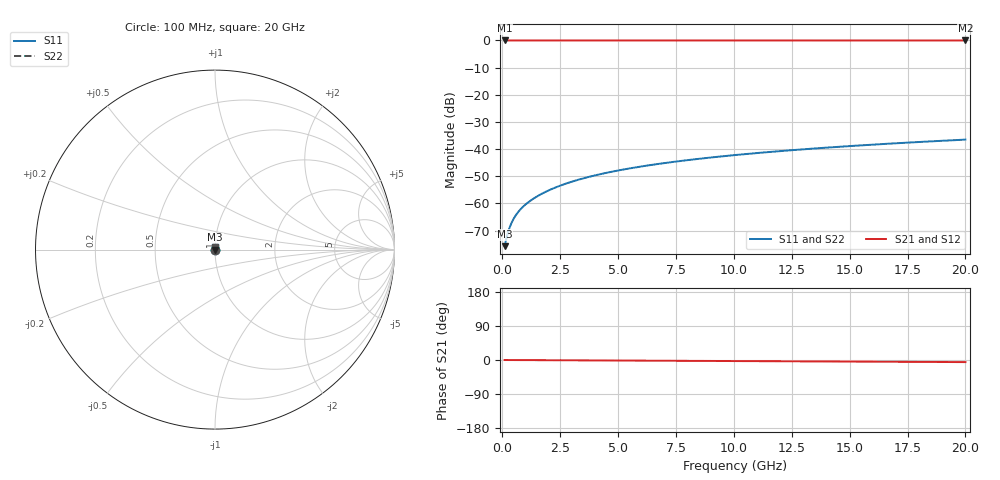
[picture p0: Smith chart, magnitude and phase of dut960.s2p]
! Touchstone file exported from HFSS 2026.1.0
!  File:  C:/ffzhzh/LocalFiles/Ansys_Project_Files/temp_train_TSV_960_1783187482_18472.aedt
!  Generated:  01:52:54 AM Jul  5, 2026
!  Design:  TSV
!  Project:  temp_train_TSV_960_1783187482_18472
! Variables:
!  h_bsmrdl = 2um
!  h_ox = 20um
!  h_rdl = 5um
!  h_sub = 51.61um
!  h_tmrdl = 5um
!  h_tsv = 51.61um
!  h_via = 3um
!  l_bsmrdl = 300um
!  l_sub = 416.46um
!  l_tmrdl = 200um
!  m_sub = 200um
!  pitch = 39.2um
!  r_tsv = 8.23um
!  s_tmrdl = 10um
!  w_bsmrdl = 18um
!  w_sub = 500um
!  w_tmrdl = 12um
!  x_tsv_center1 = 206um
!  x_tsv_center2 = 524um
!  x_tsv_center3 = 736um
!  x_tsv_center4 = 1054um
!  x_tsv_center5 = 1266um
!  x_tsv_center6 = 1584um
# GHz S MA R 50.000000
! Terminal data exported
! Port[1] = TSV1_1_T1
! Port[2] = TSV1_1_T2
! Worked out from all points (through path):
!   200 points, 100 MHz to 20 GHz, reference 50 ohm
!   highest |S21| = 0.00 dB at 100 MHz (marker M1); lowest = 0.0 dB at 20 GHz (marker M2)
!   lowest |S11| = -75.7 dB at 100 MHz (marker M3), VSWR 1.00, Z = 50 + j0.0107 ohm
!   |S11| at or under -10 dB: start of sweep to end of sweep
!   |S22| runs from -75.7 to -36.5 dB; largest |S21 - S12| = 6.1e-15
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0.1  0.0001637 40.8  0.9999 -0.0  0.9999 -0.0  0.0001637 40.8
! Gamma 0 0 0 0
! Port Impedance 50 0 50 0
0.2  0.0002502 57.8  0.9999 -0.1  0.9999 -0.1  0.0002502 57.8
0.3  0.0003456 64.8  0.9999 -0.1  0.9999 -0.1  0.0003456 64.8
0.4  0.0004408 68.2  0.9998 -0.1  0.9998 -0.1  0.0004408 68.2
0.5  0.0005331 70.1  0.9998 -0.1  0.9998 -0.1  0.0005331 70.1
0.6  0.0006222 71.4  0.9998 -0.2  0.9998 -0.2  0.0006222 71.4
0.7  0.0007083 72.3  0.9998 -0.2  0.9998 -0.2  0.0007083 72.3
0.8  0.0007921 73.0  0.9998 -0.2  0.9998 -0.2  0.0007921 73.0
1  0.0009546 74.3  0.9997 -0.3  0.9997 -0.3  0.0009546 74.3
1.4  0.00127 76.2  0.9997 -0.4  0.9997 -0.4  0.00127 76.2
1.7  0.001504 77.4  0.9997 -0.5  0.9997 -0.5  0.001504 77.4
2  0.001738 78.2  0.9997 -0.6  0.9997 -0.6  0.001738 78.2
2.7  0.002283 79.6  0.9996 -0.8  0.9996 -0.8  0.002283 79.6
3.5  0.002902 80.5  0.9996 -1.0  0.9996 -1.0  0.002902 80.5
4.2  0.003438 81.0  0.9995 -1.2  0.9995 -1.2  0.003438 81.0
5  0.004044 81.3  0.9995 -1.4  0.9995 -1.4  0.004044 81.3
6.8  0.00539 81.6  0.9994 -1.9  0.9994 -1.9  0.00539 81.6
8.3  0.006497 81.8  0.9993 -2.3  0.9993 -2.3  0.006497 81.8
10.1  0.007816 81.8  0.9992 -2.8  0.9992 -2.8  0.007816 81.8
13.4  0.01022 81.5  0.9991 -3.7  0.9991 -3.7  0.01022 81.5
16.7  0.0126 81.1  0.999 -4.7  0.999 -4.7  0.0126 81.1
20  0.01497 80.4  0.9988 -5.6  0.9988 -5.6  0.01497 80.4
